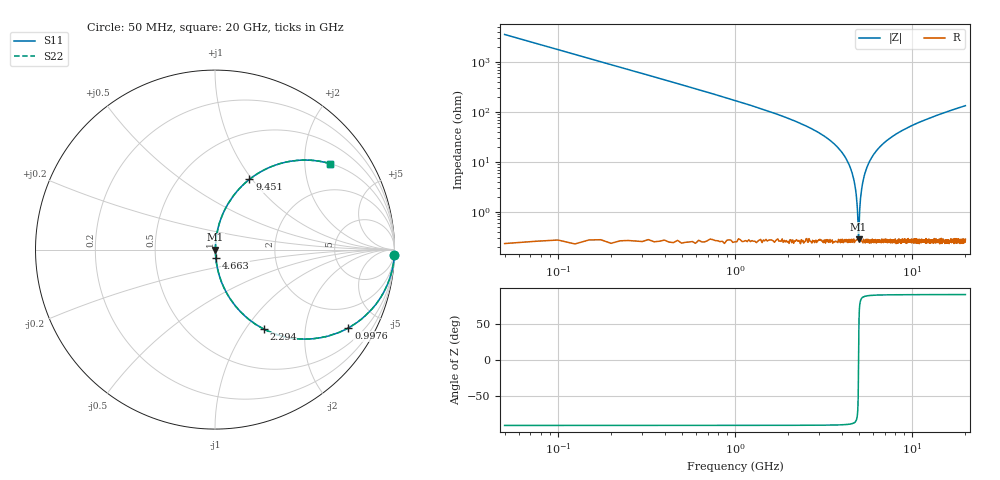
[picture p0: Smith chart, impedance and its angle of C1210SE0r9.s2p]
! AVX Thin Film Operation		Date: April 2012
! Description: Accu-P® Series, Thin Film, SMD, RF Capacitor
! Part Number: 12101J0R9PBTTR
!	100	MHz	-	20.05	GHz
!	Serial	Measurements
#	MHZ	S	MA	R	50
!	S11	S21	S12	S22
!	dB	Phase	dB	Phase	dB	Phase	dB	Phase
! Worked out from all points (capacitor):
!   801 points, 50 MHz to 20 GHz, reference 50 ohm
!   read as one part in series: C = 898 fF near 149.8 MHz
!   lowest |Z| = 280 mohm at 4.988 GHz (marker M1)
!   series resonance near 4.986 GHz, so ESL is about 1.1 nH
!   S11 on the Smith chart (normalised r, x): 50 MHz: 0, -71; 997.6 MHz: 1.00, -3.40; 2.294 GHz: 1.01, -1.21; 4.663 GHz: 1.01, -0.09; 9.451 GHz: 1.00, +0.97; 20 GHz: 1.01, +2.67
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50  1 -1.6  0.028 88.4  0.028 88.4  1 -1.6
224.563  0.992 -7.3  0.126 82.7  0.126 82.7  0.992 -7.3
374.188  0.978 -12.0  0.208 78.0  0.208 78.0  0.978 -12.0
997.625  0.862 -30.4  0.506 59.5  0.506 59.5  0.862 -30.4
1571.188  0.711 -44.5  0.701 45.3  0.701 45.3  0.711 -44.5
2294.375  0.518 -58.5  0.853 31.2  0.853 31.2  0.518 -58.5
3391.625  0.269 -73.9  0.961 15.6  0.961 15.6  0.269 -73.9
4189.625  0.123 -81.8  0.99 7.1  0.99 7.1  0.123 -81.8
4663.438  0.047 -84.2  0.996 2.7  0.996 2.7  0.047 -84.2
4813.063  0.025 -82.7  0.997 1.4  0.997 1.4  0.025 -82.7
4912.813  0.011 -75.6  0.997 0.6  0.997 0.6  0.011 -75.6
4987.625  0.002581 4.3  0.997 -0.0  0.997 -0.0  0.002581 4.3
5062.438  0.011 75.9  0.997 -0.6  0.997 -0.6  0.011 75.9
5212.063  0.031 83.5  0.997 -1.8  0.997 -1.8  0.031 83.5
5486.375  0.068 83.9  0.995 -3.9  0.995 -3.9  0.068 83.9
5960.188  0.126 81.6  0.989 -7.2  0.989 -7.2  0.126 81.6
6708.313  0.208 77.3  0.976 -12.0  0.976 -12.0  0.208 77.3
9451.438  0.436 63.9  0.898 -25.8  0.898 -25.8  0.436 63.9
10025  0.472 61.6  0.879 -28.2  0.879 -28.2  0.472 61.6
13366.62  0.632 50.6  0.773 -39.2  0.773 -39.2  0.632 50.6
16683.31  0.733 42.7  0.678 -47.1  0.678 -47.1  0.733 42.7
20000  0.799 36.8  0.599 -53.1  0.599 -53.1  0.799 36.8
